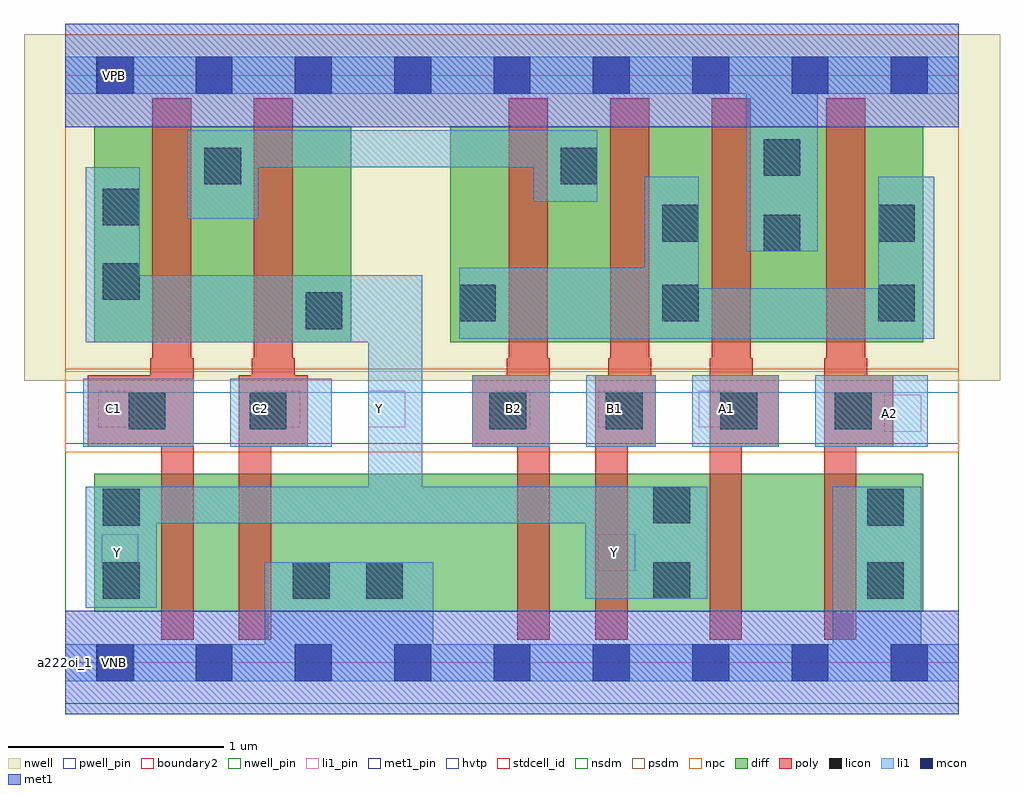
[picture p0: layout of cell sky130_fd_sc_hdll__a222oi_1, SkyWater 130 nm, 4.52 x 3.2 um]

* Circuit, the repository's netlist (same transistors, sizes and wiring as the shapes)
* Copyright 2020 The SkyWater PDK Authors
*
* Licensed under the Apache License, Version 2.0 (the "License");
* you may not use this file except in compliance with the License.
* You may obtain a copy of the License at
*
*     https://www.apache.org/licenses/LICENSE-2.0
*
* Unless required by applicable law or agreed to in writing, software
* distributed under the License is distributed on an "AS IS" BASIS,
* WITHOUT WARRANTIES OR CONDITIONS OF ANY KIND, either express or implied.
* See the License for the specific language governing permissions and
* limitations under the License.
*
* SPDX-License-Identifier: Apache-2.0

.SUBCKT sky130_fd_sc_hdll__a222oi_1 A1 A2 B1 B2 C1 C2 VGND VNB VPB VPWR Y
*.PININFO A1:I A2:I B1:I B2:I C1:I C2:I VGND:I VNB:I VPB:I VPWR:I Y:O
MMPA0 pndA A1 VPWR VPB sky130_fd_pr__pfet_01v8_hvt m=1 w=1.0U l=0.18U mult=1 sa=0.265
+ sb=0.265 sd=0.28 area=0.063 perim=1.14
MMPA1 pndA A2 VPWR VPB sky130_fd_pr__pfet_01v8_hvt m=1 w=1.0U l=0.18U mult=1 sa=0.265
+ sb=0.265 sd=0.28 area=0.063 perim=1.14
MMPB0 pndB B1 pndA VPB sky130_fd_pr__pfet_01v8_hvt m=1 w=1.0U l=0.18U mult=1 sa=0.265
+ sb=0.265 sd=0.28 area=0.063 perim=1.14
MMPB1 pndB B2 pndA VPB sky130_fd_pr__pfet_01v8_hvt m=1 w=1.0U l=0.18U mult=1 sa=0.265
+ sb=0.265 sd=0.28 area=0.063 perim=1.14
MMPC0 Y C1 pndB VPB sky130_fd_pr__pfet_01v8_hvt m=1 w=1.0U l=0.18U mult=1 sa=0.265
+ sb=0.265 sd=0.28 area=0.063 perim=1.14
MI8 Y C2 pndB VPB sky130_fd_pr__pfet_01v8_hvt m=1 w=1.0U l=0.18U mult=1 sa=0.265
+ sb=0.265 sd=0.28 area=0.063 perim=1.14
MMNA0 Y A1 sndA1 VNB sky130_fd_pr__nfet_01v8 m=1 w=0.64U l=0.15U mult=1 sa=0.265
+ sb=0.265 sd=0.28 area=0.063 perim=1.14
MMNA1 sndA1 A2 VGND VNB sky130_fd_pr__nfet_01v8 m=1 w=0.64U l=0.15U mult=1 sa=0.265
+ sb=0.265 sd=0.28 area=0.063 perim=1.14
MMNB0 Y B1 sndB1 VNB sky130_fd_pr__nfet_01v8 m=1 w=0.64U l=0.15U mult=1 sa=0.265
+ sb=0.265 sd=0.28 area=0.063 perim=1.14
MMNB1 sndB1 B2 VGND VNB sky130_fd_pr__nfet_01v8 m=1 w=0.64U l=0.15U mult=1 sa=0.265
+ sb=0.265 sd=0.28 area=0.063 perim=1.14
MMNC0 Y C1 net62 VNB sky130_fd_pr__nfet_01v8 m=1 w=0.64U l=0.15U mult=1 sa=0.265
+ sb=0.265 sd=0.28 area=0.063 perim=1.14
MI10 net62 C2 VGND VNB sky130_fd_pr__nfet_01v8 m=1 w=0.64U l=0.15U mult=1 sa=0.265
+ sb=0.265 sd=0.28 area=0.063 perim=1.14
.ENDS sky130_fd_sc_hdll__a222oi_1

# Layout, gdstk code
import gdstk
lib = gdstk.Library(unit=1e-6, precision=1e-09)
def R(c, l, rs):  # rectangles x0, y0, x1, y1
    for r in rs: c.add(gdstk.rectangle(r[:2], r[2:], *l))
def A(c, l, x, y, w, h, nx, ny, dx, dy):  # array of equal rectangles
    R(c, l, [(x+i*dx, y+j*dy, x+i*dx+w, y+j*dy+h) for i in range(nx) for j in range(ny)])
def P(c, l, *ps):  # polygons
    for p in ps: c.add(gdstk.Polygon(p, *l))
nwell_pin = (64, 16)
nwell = (64, 20)
diff = (65, 20)
poly = (66, 20)
licon = (66, 44)
li1_pin = (67, 16)
li1 = (67, 20)
mcon = (67, 44)
met1_pin = (68, 16)
met1 = (68, 20)
hvtp = (78, 44)
stdcell_id = (81, 4)
nsdm = (93, 44)
psdm = (94, 20)
npc = (95, 20)
pwell_pin = (122, 16)
boundary2 = (236, 0)

sky130_fd_sc_hdll__a222o = lib.new_cell('sky130_fd_sc_hdll__a222oi_1')
R(sky130_fd_sc_hdll__a222o, nwell_pin, [(0.15,2.635,0.32,2.805)])
R(sky130_fd_sc_hdll__a222o, nwell, [(-0.19,1.305,4.33,2.91)])
R(sky130_fd_sc_hdll__a222o, diff, [(0.135,0.235,3.975,0.875), (0.135,1.485,1.325,2.485), (1.785,1.485,3.975,2.485)])
P(sky130_fd_sc_hdll__a222o, poly, [(0.595,1.41),(0.585,1.41),(0.585,2.615),(0.405,2.615),(0.405,1.41),(0.395,1.41),(0.395,1.33),(0.105,1.33),(0.105,1),(0.445,1),(0.445,0.105),(0.595,0.105)],
  [(1.125,1.33),(1.065,1.33),(1.065,1.41),(1.055,1.41),(1.055,2.615),(0.875,2.615),(0.875,1.41),(0.865,1.41),(0.865,1.33),(0.805,1.33),(0.805,0.105),(0.955,0.105),(0.955,1),(1.125,1)],
  [(2.245,1.41),(2.235,1.41),(2.235,2.615),(2.055,2.615),(2.055,1.41),(2.045,1.41),(2.045,1.33),(1.885,1.33),(1.885,1),(2.095,1),(2.095,0.105),(2.245,0.105)],
  [(2.735,1.33),(2.715,1.33),(2.715,1.41),(2.705,1.41),(2.705,2.615),(2.525,2.615),(2.525,1.41),(2.515,1.41),(2.515,1.33),(2.455,1.33),(2.455,0.105),(2.605,0.105),(2.605,1),(2.735,1)],
  [(3.305,1.33),(3.185,1.33),(3.185,1.41),(3.175,1.41),(3.175,2.615),(2.995,2.615),(2.995,1.41),(2.985,1.41),(2.985,0.105),(3.135,0.105),(3.135,1),(3.305,1)],
  [(3.835,1.33),(3.715,1.33),(3.715,1.41),(3.705,1.41),(3.705,2.615),(3.525,2.615),(3.525,1.41),(3.515,1.41),(3.515,0.105),(3.665,0.105),(3.665,1),(3.835,1)])
A(sky130_fd_sc_hdll__a222o, licon, 2.505, 1.08, 0.17, 0.17, 3, 1, 0.53, 0)
R(sky130_fd_sc_hdll__a222o, licon, [(0.175,0.295,0.345,0.465), (1.055,0.295,1.225,0.465), (1.395,0.295,1.565,0.465), (2.725,0.295,2.895,0.465), (3.715,0.295,3.885,0.465), (0.175,0.635,0.345,0.805), (3.715,0.635,3.885,0.805), (2.725,0.645,2.895,0.815), (0.295,1.08,0.465,1.25), (0.855,1.08,1.025,1.25), (1.965,1.08,2.135,1.25), (1.115,1.545,1.285,1.715), (1.825,1.58,1.995,1.75), (2.765,1.58,2.935,1.75), (3.765,1.58,3.935,1.75), (0.175,1.68,0.345,1.85), (3.235,1.905,3.405,2.075), (2.765,1.95,2.935,2.12), (3.765,1.95,3.935,2.12), (0.175,2.025,0.345,2.195), (0.645,2.215,0.815,2.385), (2.295,2.215,2.465,2.385), (3.235,2.255,3.405,2.425)])
R(sky130_fd_sc_hdll__a222o, li1_pin, [(0.17,0.425,0.34,0.595), (2.47,0.425,2.64,0.595), (3.795,1.07,3.965,1.24), (0.155,1.09,0.325,1.26), (0.87,1.09,1.09,1.26), (1.405,1.09,1.575,1.26), (1.985,1.09,2.155,1.26), (2.47,1.09,2.64,1.26), (2.935,1.09,3.105,1.26)])
R(sky130_fd_sc_hdll__a222o, li1, [(0.085,1,0.595,1.315), (0.765,1,1.235,1.315), (1.885,1,2.245,1.33), (2.415,1,2.735,1.33), (2.905,1,3.305,1.33), (3.475,1,3.995,1.33)])
P(sky130_fd_sc_hdll__a222o, li1, [(2.465,2.465),(0.565,2.465),(0.565,2.055),(0.895,2.055),(0.895,2.295),(2.17,2.295),(2.17,2.135),(2.465,2.135)],
  [(2.975,0.815),(1.655,0.815),(1.655,1.795),(0.345,1.795),(0.345,2.295),(0.095,2.295),(0.095,1.485),(1.405,1.485),(1.405,0.815),(0.095,0.815),(0.095,0.255),(0.425,0.255),(0.425,0.645),(2.41,0.645),(2.41,0.295),(2.975,0.295)],
  [(4.025,2.25),(3.765,2.25),(3.765,1.735),(2.935,1.735),(2.935,2.25),(2.685,2.25),(2.685,1.83),(1.825,1.83),(1.825,1.5),(4.025,1.5)],
  [(4.14,2.805),(0,2.805),(0,2.635),(3.155,2.635),(3.155,1.905),(3.485,1.905),(3.485,2.635),(4.14,2.635)],
  [(4.14,0.085),(3.965,0.085),(3.965,0.815),(3.555,0.815),(3.555,0.085),(1.705,0.085),(1.705,0.465),(0.925,0.465),(0.925,0.085),(0,0.085),(0,-0.085),(4.14,-0.085)])
A(sky130_fd_sc_hdll__a222o, mcon, 0.145, -0.085, 0.17, 0.17, 9, 2, 0.46, 2.72)
R(sky130_fd_sc_hdll__a222o, met1_pin, [(0.15,-0.085,0.32,0.085), (0.15,2.635,0.32,2.805)])
R(sky130_fd_sc_hdll__a222o, met1, [(0,-0.24,4.14,0.24), (0,2.48,4.14,2.96)])
R(sky130_fd_sc_hdll__a222o, hvtp, [(0,1.25,4.14,2.72)])
R(sky130_fd_sc_hdll__a222o, stdcell_id, [(0,0,4.14,2.72)])
R(sky130_fd_sc_hdll__a222o, nsdm, [(0,-0.19,4.14,1.015)])
R(sky130_fd_sc_hdll__a222o, psdm, [(0,1.36,4.14,2.91)])
R(sky130_fd_sc_hdll__a222o, npc, [(0,0.975,4.14,1.35)])
R(sky130_fd_sc_hdll__a222o, pwell_pin, [(0.15,-0.085,0.32,0.085)])
R(sky130_fd_sc_hdll__a222o, boundary2, [(0,0,4.14,2.72)])
sky130_fd_sc_hdll__a222o.add(gdstk.Label('VNB', (0.23,0), layer=64, texttype=59))
sky130_fd_sc_hdll__a222o.add(gdstk.Label('a222oi_1', (0,0), layer=83, texttype=44))
sky130_fd_sc_hdll__a222o.add(gdstk.Label('VPB', (0.23,2.72), layer=64, texttype=5))
sky130_fd_sc_hdll__a222o.add(gdstk.Label('VGND', (0.23,0), layer=68, texttype=5))
sky130_fd_sc_hdll__a222o.add(gdstk.Label('VPWR', (0.23,2.72), layer=68, texttype=5))
sky130_fd_sc_hdll__a222o.add(gdstk.Label('C2', (0.905,1.175), layer=67, texttype=5))
sky130_fd_sc_hdll__a222o.add(gdstk.Label('C1', (0.225,1.175), layer=67, texttype=5))
sky130_fd_sc_hdll__a222o.add(gdstk.Label('B1', (2.545,1.175), layer=67, texttype=5))
sky130_fd_sc_hdll__a222o.add(gdstk.Label('A2', (3.82,1.155), layer=67, texttype=5))
sky130_fd_sc_hdll__a222o.add(gdstk.Label('A1', (3.065,1.175), layer=67, texttype=5))
sky130_fd_sc_hdll__a222o.add(gdstk.Label('Y', (1.455,1.175), layer=67, texttype=5))
sky130_fd_sc_hdll__a222o.add(gdstk.Label('B2', (2.075,1.175), layer=67, texttype=5))
sky130_fd_sc_hdll__a222o.add(gdstk.Label('Y', (2.545,0.51), layer=67, texttype=5))
sky130_fd_sc_hdll__a222o.add(gdstk.Label('Y', (0.245,0.51), layer=67, texttype=5))

lib.write_gds('sky130_fd_sc_hdll__a222oi_1.gds')
